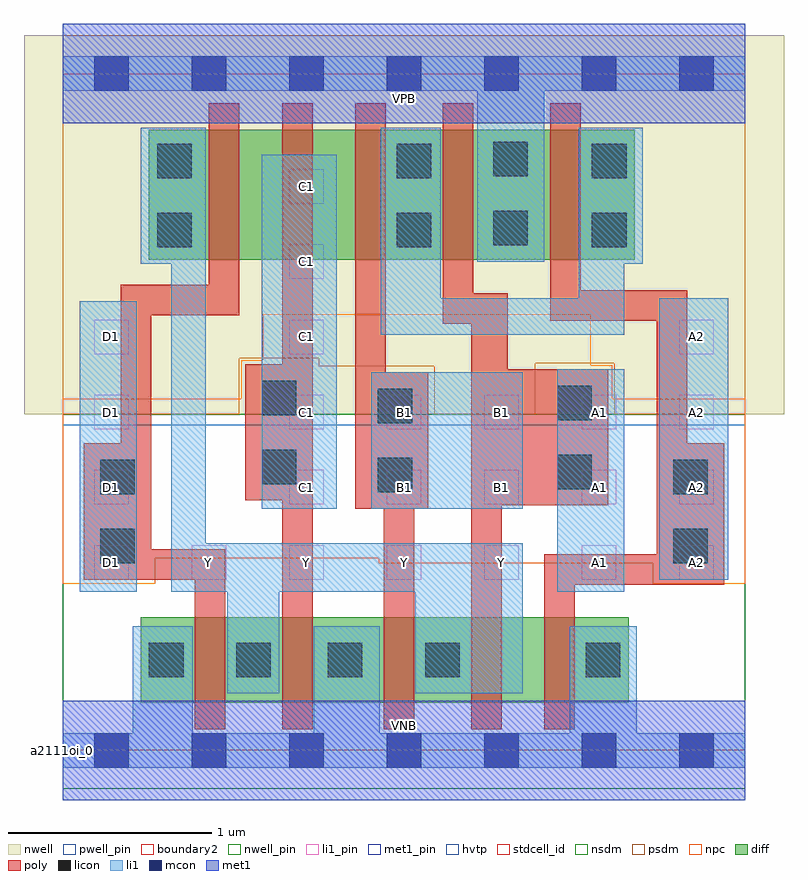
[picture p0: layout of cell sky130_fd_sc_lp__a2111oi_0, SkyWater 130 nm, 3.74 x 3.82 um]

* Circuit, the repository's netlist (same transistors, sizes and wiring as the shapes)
* Copyright 2020 The SkyWater PDK Authors
*
* Licensed under the Apache License, Version 2.0 (the "License");
* you may not use this file except in compliance with the License.
* You may obtain a copy of the License at
*
*     https://www.apache.org/licenses/LICENSE-2.0
*
* Unless required by applicable law or agreed to in writing, software
* distributed under the License is distributed on an "AS IS" BASIS,
* WITHOUT WARRANTIES OR CONDITIONS OF ANY KIND, either express or implied.
* See the License for the specific language governing permissions and
* limitations under the License.
*
* SPDX-License-Identifier: Apache-2.0

.SUBCKT sky130_fd_sc_lp__a2111oi_0 A1 A2 B1 C1 D1 VGND VNB VPB VPWR Y
*.PININFO A1:I A2:I B1:I C1:I D1:I VGND:I VNB:I VPB:I VPWR:I Y:O
MMPA0 pndA A1 VPWR VPB sky130_fd_pr__pfet_01v8_hvt m=1 w=0.64U l=0.15U mult=1 sa=0.265
+ sb=0.265 sd=0.28 area=0.063 perim=1.14
MMPA1 pndA A2 VPWR VPB sky130_fd_pr__pfet_01v8_hvt m=1 w=0.64U l=0.15U mult=1 sa=0.265
+ sb=0.265 sd=0.28 area=0.063 perim=1.14
MMPB0 pndB B1 pndA VPB sky130_fd_pr__pfet_01v8_hvt m=1 w=0.64U l=0.15U mult=1 sa=0.265
+ sb=0.265 sd=0.28 area=0.063 perim=1.14
MMPC0 pndC C1 pndB VPB sky130_fd_pr__pfet_01v8_hvt m=1 w=0.64U l=0.15U mult=1 sa=0.265
+ sb=0.265 sd=0.28 area=0.063 perim=1.14
MMPD0 Y D1 pndC VPB sky130_fd_pr__pfet_01v8_hvt m=1 w=0.64U l=0.15U mult=1 sa=0.265
+ sb=0.265 sd=0.28 area=0.063 perim=1.14
MMNA0 Y A1 sndA1 VNB sky130_fd_pr__nfet_01v8 m=1 w=0.42U l=0.15U mult=1 sa=0.265
+ sb=0.265 sd=0.28 area=0.063 perim=1.14
MMNA1 sndA1 A2 VGND VNB sky130_fd_pr__nfet_01v8 m=1 w=0.42U l=0.15U mult=1 sa=0.265
+ sb=0.265 sd=0.28 area=0.063 perim=1.14
MMNB0 Y B1 VGND VNB sky130_fd_pr__nfet_01v8 m=1 w=0.42U l=0.15U mult=1 sa=0.265
+ sb=0.265 sd=0.28 area=0.063 perim=1.14
MMNC0 Y C1 VGND VNB sky130_fd_pr__nfet_01v8 m=1 w=0.42U l=0.15U mult=1 sa=0.265
+ sb=0.265 sd=0.28 area=0.063 perim=1.14
MMND0 Y D1 VGND VNB sky130_fd_pr__nfet_01v8 m=1 w=0.42U l=0.15U mult=1 sa=0.265
+ sb=0.265 sd=0.28 area=0.063 perim=1.14
.ENDS sky130_fd_sc_lp__a2111oi_0

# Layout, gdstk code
import gdstk
lib = gdstk.Library(unit=1e-6, precision=1e-09)
def R(c, l, rs):  # rectangles x0, y0, x1, y1
    for r in rs: c.add(gdstk.rectangle(r[:2], r[2:], *l))
def A(c, l, x, y, w, h, nx, ny, dx, dy):  # array of equal rectangles
    R(c, l, [(x+i*dx, y+j*dy, x+i*dx+w, y+j*dy+h) for i in range(nx) for j in range(ny)])
def P(c, l, *ps):  # polygons
    for p in ps: c.add(gdstk.Polygon(p, *l))
nwell_pin = (64, 16)
nwell = (64, 20)
diff = (65, 20)
poly = (66, 20)
licon = (66, 44)
li1_pin = (67, 16)
li1 = (67, 20)
mcon = (67, 44)
met1_pin = (68, 16)
met1 = (68, 20)
hvtp = (78, 44)
stdcell_id = (81, 4)
nsdm = (93, 44)
psdm = (94, 20)
npc = (95, 20)
pwell_pin = (122, 16)
boundary2 = (236, 0)

sky130_fd_sc_lp__a2111oi = lib.new_cell('sky130_fd_sc_lp__a2111oi_0')
R(sky130_fd_sc_lp__a2111oi, nwell_pin, [(0,3.085,3.36,3.33)])
R(sky130_fd_sc_lp__a2111oi, nwell, [(-0.19,1.655,3.55,3.52)])
R(sky130_fd_sc_lp__a2111oi, diff, [(0.385,0.235,2.785,0.655), (0.425,2.415,2.815,3.055)])
P(sky130_fd_sc_lp__a2111oi, poly, [(1.23,3.185),(1.08,3.185),(1.08,1.9),(0.9,1.9),(0.9,1.23),(1.08,1.23),(1.08,0.105),(1.23,0.105)],
  [(0.87,3.185),(0.72,3.185),(0.72,2.29),(0.285,2.29),(0.285,1.51),(0.105,1.51),(0.105,0.84),(0.65,0.84),(0.65,0.105),(0.8,0.105),(0.8,0.99),(0.435,0.99),(0.435,2.14),(0.87,2.14)],
  [(1.8,1.86),(1.59,1.86),(1.59,3.185),(1.44,3.185),(1.44,1.19),(1.58,1.19),(1.58,0.105),(1.73,0.105),(1.73,1.19),(1.8,1.19)],
  [(2.685,1.875),(2.19,1.875),(2.19,2.25),(2.02,2.25),(2.02,3.185),(1.87,3.185),(1.87,2.1),(2.01,2.1),(2.01,0.105),(2.16,0.105),(2.16,1.205),(2.685,1.205)],
  [(3.255,1.51),(3.075,1.51),(3.075,2.265),(2.55,2.265),(2.55,3.185),(2.4,3.185),(2.4,2.115),(2.925,2.115),(2.925,0.965),(2.37,0.965),(2.37,0.105),(2.52,0.105),(2.52,0.815),(3.255,0.815)])
R(sky130_fd_sc_lp__a2111oi, licon, [(0.425,0.36,0.595,0.53), (0.855,0.36,1.025,0.53), (1.305,0.36,1.475,0.53), (1.785,0.36,1.955,0.53), (2.575,0.36,2.745,0.53), (0.185,0.92,0.355,1.09), (3.005,0.92,3.175,1.09), (0.185,1.26,0.355,1.43), (3.005,1.26,3.175,1.43), (1.55,1.27,1.72,1.44), (2.435,1.285,2.605,1.455), (0.98,1.31,1.15,1.48), (1.55,1.61,1.72,1.78), (2.435,1.625,2.605,1.795), (0.98,1.65,1.15,1.82), (0.465,2.475,0.635,2.645), (1.645,2.475,1.815,2.645), (2.605,2.475,2.775,2.645), (2.12,2.485,2.29,2.655), (0.465,2.815,0.635,2.985), (1.645,2.815,1.815,2.985), (2.605,2.815,2.775,2.985), (2.12,2.825,2.29,2.995)])
A(sky130_fd_sc_lp__a2111oi, li1_pin, 0.155, 0.84, 0.17, 0.17, 7, 1, 0.48, 0)
A(sky130_fd_sc_lp__a2111oi, li1_pin, 0.155, 1.21, 0.17, 0.17, 1, 3, 0, 0.37)
A(sky130_fd_sc_lp__a2111oi, li1_pin, 1.115, 1.21, 0.17, 0.17, 5, 2, 0.48, 0.37)
A(sky130_fd_sc_lp__a2111oi, li1_pin, 1.115, 1.95, 0.17, 0.17, 1, 3, 0, 0.37)
R(sky130_fd_sc_lp__a2111oi, li1_pin, [(3.035,1.95,3.205,2.12)])
R(sky130_fd_sc_lp__a2111oi, li1, [(0.085,0.78,0.365,2.21), (2.435,0.78,2.765,1.875), (2.935,0.84,3.275,2.225), (0.98,1.19,1.35,2.93), (1.52,1.19,2.265,1.86)])
P(sky130_fd_sc_lp__a2111oi, li1, [(2.855,3.065),(2.54,3.065),(2.54,2.225),(1.86,2.225),(1.86,3.065),(1.565,3.065),(1.565,2.045),(2.765,2.045),(2.765,2.395),(2.855,2.395)],
  [(2.265,1.02),(0.705,1.02),(0.705,3.065),(0.385,3.065),(0.385,2.395),(0.535,2.395),(0.535,0.78),(0.81,0.78),(0.81,0.28),(1.065,0.28),(1.065,0.78),(1.735,0.78),(1.735,0.28),(2.265,0.28)],
  [(3.36,0.085),(2.825,0.085),(2.825,0.61),(2.495,0.61),(2.495,0.085),(1.56,0.085),(1.56,0.61),(1.235,0.61),(1.235,0.085),(0.64,0.085),(0.64,0.61),(0.345,0.61),(0.345,0.085),(0,0.085),(0,-0.085),(3.36,-0.085)],
  [(3.36,3.415),(0,3.415),(0,3.245),(2.04,3.245),(2.04,2.405),(2.37,2.405),(2.37,3.245),(3.36,3.245)])
A(sky130_fd_sc_lp__a2111oi, mcon, 0.155, -0.085, 0.17, 0.17, 7, 2, 0.48, 3.33)
R(sky130_fd_sc_lp__a2111oi, met1_pin, [(0,0,3.36,0.245), (0,3.085,3.36,3.33)])
R(sky130_fd_sc_lp__a2111oi, met1, [(0,-0.245,3.36,0.245), (0,3.085,3.36,3.575)])
R(sky130_fd_sc_lp__a2111oi, hvtp, [(0,1.6,3.36,3.33)])
R(sky130_fd_sc_lp__a2111oi, stdcell_id, [(0,0,3.36,3.33)])
R(sky130_fd_sc_lp__a2111oi, nsdm, [(0,-0.19,3.36,1.655)])
P(sky130_fd_sc_lp__a2111oi, psdm, [(3.36,3.52),(0,3.52),(0,1.655),(0.87,1.655),(0.87,1.93),(1.26,1.93),(1.26,1.89),(1.83,1.89),(1.83,1.655),(2.325,1.655),(2.325,1.905),(2.715,1.905),(2.715,1.655),(3.36,1.655)])
P(sky130_fd_sc_lp__a2111oi, npc, [(3.36,1.73),(2.705,1.73),(2.705,1.895),(2.6,1.895),(2.6,2.145),(0.985,2.145),(0.985,1.92),(0.88,1.92),(0.88,1.73),(0,1.73),(0,0.82),(0.455,0.82),(0.455,0.945),(1.555,0.945),(1.555,0.92),(2.905,0.92),(2.905,0.82),(3.36,0.82)])
R(sky130_fd_sc_lp__a2111oi, pwell_pin, [(0,0,3.36,0.245)])
R(sky130_fd_sc_lp__a2111oi, boundary2, [(0,0,3.36,3.33)])
sky130_fd_sc_lp__a2111oi.add(gdstk.Label('VNB', (1.68,0.123), layer=64, texttype=59))
sky130_fd_sc_lp__a2111oi.add(gdstk.Label('VPB', (1.68,3.208), layer=64, texttype=5))
sky130_fd_sc_lp__a2111oi.add(gdstk.Label('a2111oi_0', (0,0), layer=83, texttype=44))
sky130_fd_sc_lp__a2111oi.add(gdstk.Label('VPWR', (1.68,3.208), layer=68, texttype=5))
sky130_fd_sc_lp__a2111oi.add(gdstk.Label('VGND', (1.68,0.123), layer=68, texttype=5))
sky130_fd_sc_lp__a2111oi.add(gdstk.Label('A1', (2.64,0.925), layer=67, texttype=5))
sky130_fd_sc_lp__a2111oi.add(gdstk.Label('A1', (2.64,1.295), layer=67, texttype=5))
sky130_fd_sc_lp__a2111oi.add(gdstk.Label('A1', (2.64,1.665), layer=67, texttype=5))
sky130_fd_sc_lp__a2111oi.add(gdstk.Label('A2', (3.12,0.925), layer=67, texttype=5))
sky130_fd_sc_lp__a2111oi.add(gdstk.Label('A2', (3.12,1.295), layer=67, texttype=5))
sky130_fd_sc_lp__a2111oi.add(gdstk.Label('A2', (3.12,1.665), layer=67, texttype=5))
sky130_fd_sc_lp__a2111oi.add(gdstk.Label('A2', (3.12,2.035), layer=67, texttype=5))
sky130_fd_sc_lp__a2111oi.add(gdstk.Label('B1', (1.68,1.295), layer=67, texttype=5))
sky130_fd_sc_lp__a2111oi.add(gdstk.Label('B1', (1.68,1.665), layer=67, texttype=5))
sky130_fd_sc_lp__a2111oi.add(gdstk.Label('C1', (1.2,1.295), layer=67, texttype=5))
sky130_fd_sc_lp__a2111oi.add(gdstk.Label('C1', (1.2,1.665), layer=67, texttype=5))
sky130_fd_sc_lp__a2111oi.add(gdstk.Label('C1', (1.2,2.035), layer=67, texttype=5))
sky130_fd_sc_lp__a2111oi.add(gdstk.Label('C1', (1.2,2.405), layer=67, texttype=5))
sky130_fd_sc_lp__a2111oi.add(gdstk.Label('C1', (1.2,2.775), layer=67, texttype=5))
sky130_fd_sc_lp__a2111oi.add(gdstk.Label('D1', (0.24,0.925), layer=67, texttype=5))
sky130_fd_sc_lp__a2111oi.add(gdstk.Label('D1', (0.24,1.295), layer=67, texttype=5))
sky130_fd_sc_lp__a2111oi.add(gdstk.Label('D1', (0.24,1.665), layer=67, texttype=5))
sky130_fd_sc_lp__a2111oi.add(gdstk.Label('D1', (0.24,2.035), layer=67, texttype=5))
sky130_fd_sc_lp__a2111oi.add(gdstk.Label('Y', (0.72,0.925), layer=67, texttype=5))
sky130_fd_sc_lp__a2111oi.add(gdstk.Label('Y', (1.2,0.925), layer=67, texttype=5))
sky130_fd_sc_lp__a2111oi.add(gdstk.Label('Y', (1.68,0.925), layer=67, texttype=5))
sky130_fd_sc_lp__a2111oi.add(gdstk.Label('Y', (2.16,0.925), layer=67, texttype=5))
sky130_fd_sc_lp__a2111oi.add(gdstk.Label('B1', (2.16,1.295), layer=67, texttype=5))
sky130_fd_sc_lp__a2111oi.add(gdstk.Label('B1', (2.16,1.665), layer=67, texttype=5))

lib.write_gds('sky130_fd_sc_lp__a2111oi_0.gds')
